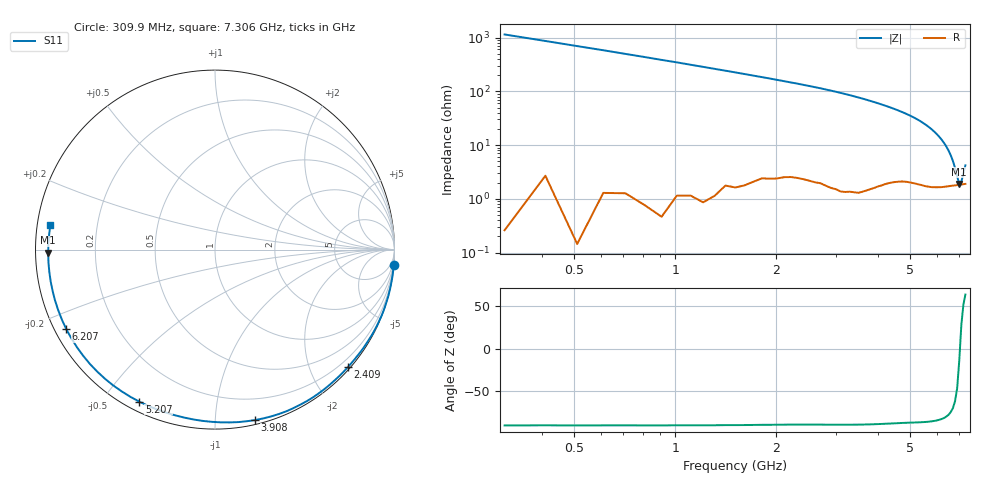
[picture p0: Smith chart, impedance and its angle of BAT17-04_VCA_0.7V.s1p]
! Infineon Technologies  Discrete & RF Semiconductors
! BAT17-04
! VCA = 0.7 V
! One-Port S-Parameters
# Hz  S  MA  R  50
!f  S11
!Hz  Mag  Ang
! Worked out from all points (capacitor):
!   71 points, 309.9 MHz to 7.306 GHz, reference 50 ohm
!   read as one part to ground: C = 448 fF near 309.9 MHz
!   lowest |Z| = 1.88 ohm at 7.006 GHz (marker M1)
!   series resonance near 7.038 GHz, so ESL is about 1.1 nH
!   S11 on the Smith chart (normalised r, x): 309.9 MHz: 0, -23; 2.409 GHz: 0.05, -2.63; 3.908 GHz: 0.03, -1.26; 5.207 GHz: 0.04, -0.62; 6.207 GHz: 0.03, -0.25; 7.306 GHz: 0.04, +0.08
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3.0985e8  1 -5.0
8.096e8  0.9996 -13.1
1.2094e9  0.999 -19.9
1.6092e9  0.9961 -26.9
2.10895e9  0.9904 -35.9
2.4088e9  0.9884 -41.6
2.70865e9  0.9875 -47.5
3.0085e9  0.9876 -54.0
3.2084e9  0.9872 -58.7
3.4083e9  0.9854 -63.6
3.6082e9  0.9829 -68.7
3.8081e9  0.9782 -74.1
3.90805e9  0.9757 -76.8
4.10795e9  0.9697 -82.4
4.30785e9  0.9629 -88.2
4.50775e9  0.9568 -94.1
4.70765e9  0.9516 -100.2
5.0075e9  0.9474 -109.8
5.2074e9  0.9462 -116.5
5.4073e9  0.9455 -123.3
5.6072e9  0.9454 -130.4
5.90705e9  0.9431 -141.2
6.10695e9  0.9407 -148.3
6.2069e9  0.9397 -151.9
6.50675e9  0.9352 -162.3
6.70665e9  0.9326 -169.1
7.0065e9  0.9294 -179.0
7.30635e9  0.9273 171.4
